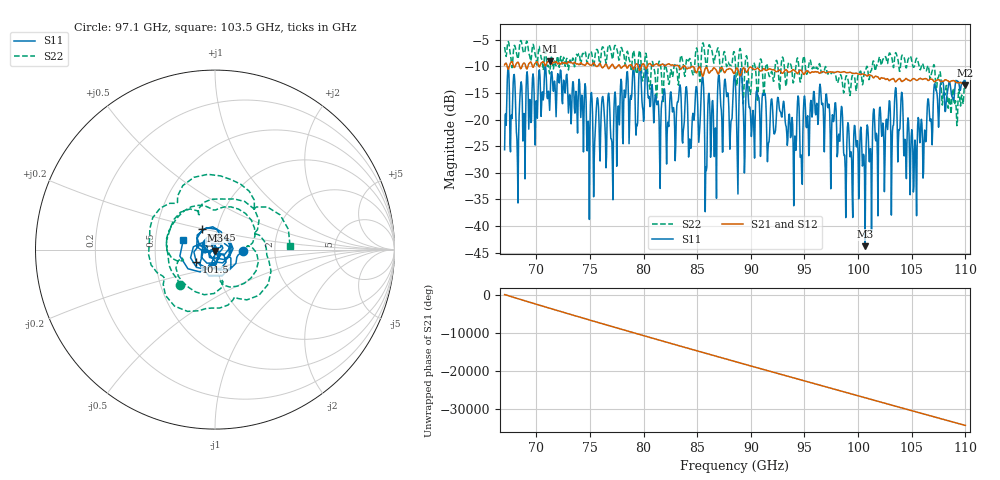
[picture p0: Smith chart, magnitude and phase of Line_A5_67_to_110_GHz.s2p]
#  HZ  S  MA  R  50.00
! Rohde & Schwarz ZVA67 4Ports - Version 4.11 - 1305.7002k04 SN: 101051
! Date: 2023-09-13 17:05:36
! Measurements: S11 S21 S12 S22
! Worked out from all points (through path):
!   860 points, 67.05 GHz to 110 GHz, reference 50 ohm
!   highest |S21| = -9.00 dB at 71.25 GHz (marker M1); lowest = -13.5 dB at 110 GHz (marker M2)
!   lowest |S11| = -43.8 dB at 100.7 GHz (marker M3), VSWR 1.01, Z = 49.8 - j0.624 ohm
!   |S11| at or under -10 dB: start of sweep to 70.84 GHz; 70.86 GHz to 79.63 GHz (8.775 GHz wide, 11.7 % of centre); 79.7 GHz to end of sweep
!   |S22| runs from -21.2 to -5.2 dB; largest |S21 - S12| = 0.046
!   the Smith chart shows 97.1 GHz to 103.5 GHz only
!   S11 on the Smith chart (normalised r, x): 97.1 GHz: 1.36, -0.02; 98.45 GHz: 0.85, +0.19; 101.5 GHz: 0.80, -0.12; 103.5 GHz: 0.70, +0.07
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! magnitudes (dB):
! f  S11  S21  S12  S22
! 67.05 GHz  -25.7  -9.8  -9.7  -6.4
! 67.3 GHz  -12.4  -10.1  -10.2  -6.2
! 68.25 GHz  -28.4  -9.3  -9.2  -8.4
! 71.25 GHz  -18.3  -9.0  -9.0  -11.4
! 74.25 GHz  -15.4  -9.6  -9.5  -8.3
! 77.05 GHz  -24.2  -9.7  -9.7  -8.3
! 80.3 GHz  -11.1  -10.3  -10.3  -8.6
! 81.4 GHz  -17.4  -9.8  -9.8  -9.5
! 85.85 GHz  -29.6  -10.2  -10.2  -10.4
! 88.55 GHz  -12.7  -11.0  -10.9  -9.0
! 94.05 GHz  -26.6  -10.7  -10.7  -12.1
! 95.7 GHz  -19.5  -11.1  -11.0  -10.5
! 97.1 GHz  -16.3  -11.2  -11.2  -11.1
! 98.45 GHz  -17.5  -11.1  -11.1  -12.0
! 100.7 GHz  -43.8  -11.6  -11.6  -11.0
! 101.5 GHz  -18.0  -12.2  -12.2  -9.0
! 102.8 GHz  -17.7  -12.6  -12.6  -8.0
! 103.5 GHz  -14.7  -12.9  -12.8  -7.6
! 105.3 GHz  -23.8  -12.4  -12.4  -9.6
! 107.2 GHz  -13.8  -12.8  -12.8  -12.2
! 110 GHz  -12.6  -13.5  -13.5  -13.0
! 110 GHz  -13.1  -13.5  -13.5  -13.6
